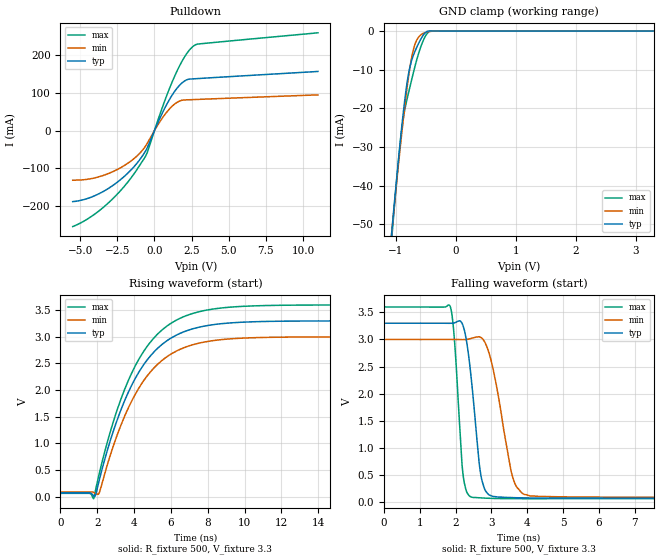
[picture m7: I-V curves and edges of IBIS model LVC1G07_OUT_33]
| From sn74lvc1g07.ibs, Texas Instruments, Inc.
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[Model]   LVC1G07_OUT_33
Model_type  Open_drain
Enable   Active-Low
Vref =   0
Rref =   500
Cref =   50p
Vmeas =   1.5
| variable   typ   min   max
C_comp   3.52pF   2.62pF   5.04pF
| C_pulldown   7.09pF   4.36pF   10.58pF
| C_tri-state   3.52pF   2.62pF   5.04pF
[Temperature Range]   40   100   -40
| Ambient temperature   25   85   -40
[Voltage range]   3.3   3   3.6
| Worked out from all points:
|   slope of the pulldown table from 0 to 0.495 V, typ, clamps not added: 11.3 ohm
|   GND clamp passes 1 mA (typ) near -0.54 V on its own axis
|   rising waveform, R_fixture 500, V_fixture 3.3: 20-80 % time 2.5ns typ, 2.47ns min, 2.52ns max; typ from 0.069 V to 3.3 V
|   falling waveform, R_fixture 500, V_fixture 3.3: 20-80 % time 286ps typ, 463ps min, 193ps max; typ from 3.3 V to 0.069 V
[GND Clamp]
| LVC1G07_OUT_33
|   Voltage   I(typ)   I(min)   I(max)
-5.5V     -945.7mA   -886mA     -1.02A
-1.09V    -55.32mA   -55.13mA   -57.23mA
-1.06V    -50.11mA   -50.28mA   -51.58mA
-920mV    -27.18mA   -28.74mA   -27.7mA
-875mV    -20.66mA   -22.38mA   -22.28mA
-815mV    -13.34mA   -14.63mA   -17.57mA
-765mV    -9.127mA   -9.177mA   -14.3mA
-705mV    -6.083mA   -4.522mA   -10.45mA
-585mV    -2.075mA   -974.2uA   -4.025mA
-500mV    -283.6uA   -350.6uA   -1.082mA
-420mV    -4.503uA   -79.35uA   -10.75uA
3.3V      25.08pA    269.7pA    877.6pA
[Pulldown]
| LVC1G07_OUT_33
|   Voltage   I(typ)   I(min)   I(max)
-5.5V     -188.2mA   -131.5mA   -254.3mA
-4.42V    -178.7mA   -128.4mA   -232mA
-3.3V     -158mA     -116.8mA   -198.6mA
-2.195V   -127mA     -96.45mA   -155.2mA
-1.24V    -89.47mA   -69.53mA   -106.8mA
-500mV    -46.94mA   -34.54mA   -59.34mA
490mV     43.26mA    31.04mA    56.84mA
1.265V    98.51mA    67.26mA    135.7mA
1.96V     129.6mA    81.13mA    191mA
2.605V    137.1mA    82.16mA    223.3mA
2.94V     138mA      82.69mA    229.5mA
11V       156.7mA    94.69mA    259.1mA
[Ramp]
| LVC1G07_OUT_33
| variable   typ   min   max
dV/dt_r   1.98/2.52E-09   1.78/2.50E-09   2.19/2.55E-09
dV/dt_f   1.97/2.93E-10   1.78/4.80E-10   2.15/1.98E-10
R_load = 500
[Rising Waveform]
| LVC1G07_OUT_33
R_fixture =   500
C_fixture =   0
L_fixture =   0
V_fixture =   3.3
V_fixture_min = 3
V_fixture_max = 3.6
|   Time   V(typ)   V(min)   V(max)
0s        69.35mV    85.87mV    58.92mV
1.59ns    69.84mV    86.14mV    59.41mV
1.805ns   14.8mV     76.4mV     -40.84mV
2.11ns    310.5mV    73.5mV     433.7mV
3.015ns   1.374V     1.092V     1.56V
3.965ns   2.155V     1.858V     2.388V
5.195ns   2.758V     2.457V     3.023V
6.675ns   3.091V     2.791V     3.376V
10.49ns   3.284V     2.984V     3.582V
24.99ns   3.3V       3V         3.6V
[Falling Waveform]
| LVC1G07_OUT_33
R_fixture =   500
C_fixture =   0
L_fixture =   0
V_fixture =   3.3
V_fixture_min = 3
V_fixture_max = 3.6
|   Time   V(typ)   V(min)   V(max)
0s        3.3V       3V         3.6V
1.84ns    3.299V     3V         3.623V
1.965ns   3.307V     3V         3.001V
2.205ns   3.258V     2.997V     512.4mV
2.47ns    2.054V     3.026V     82.88mV
2.67ns    645.1mV    3.048V     75.06mV
2.825ns   213mV      2.935V     69.03mV
3.585ns   78.57mV    471mV      59.2mV
4.07ns    71.82mV    111.8mV    58.54mV
24.99ns   69.35mV    85.87mV    58.92mV
